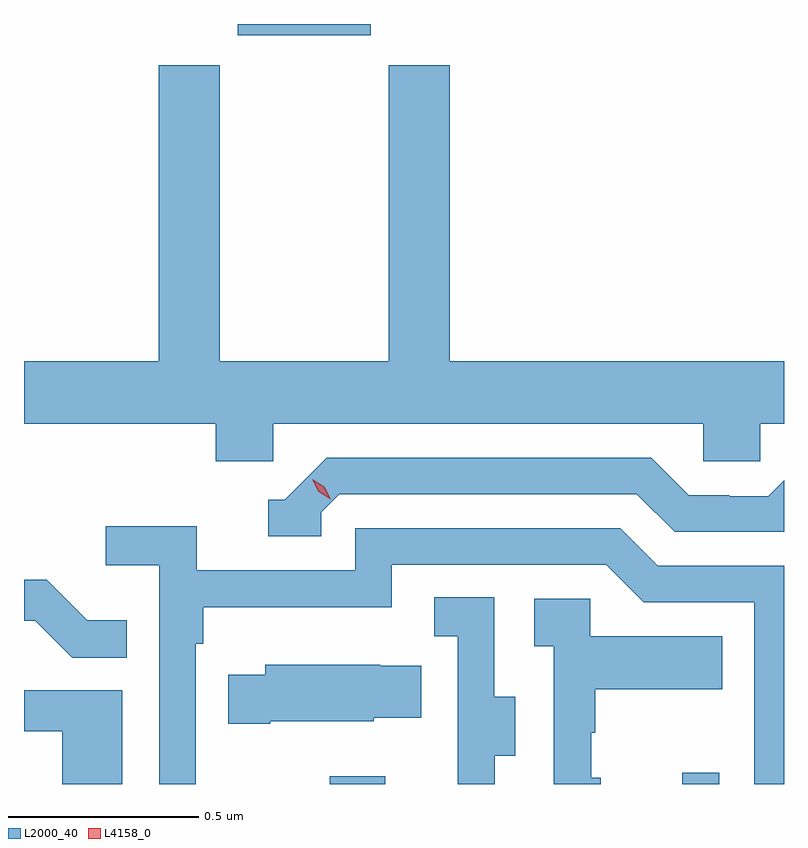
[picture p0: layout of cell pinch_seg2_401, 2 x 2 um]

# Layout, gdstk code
import gdstk
lib = gdstk.Library(unit=1e-6, precision=1e-09)
def R(c, l, rs):  # rectangles x0, y0, x1, y1
    for r in rs: c.add(gdstk.rectangle(r[:2], r[2:], *l))
def P(c, l, *ps):  # polygons
    for p in ps: c.add(gdstk.Polygon(p, *l))
L2000_40 = (2000, 40)
L4158_0 = (4158, 0)

pinch_seg2_401 = lib.new_cell('pinch_seg2_401')
R(pinch_seg2_401, L2000_40, [(954.814,604.064,954.961,604.084), (955.742,604.064,955.839,604.093), (954.572,606.035,954.922,606.064)])
P(pinch_seg2_401, L2000_40, [(954.666,605.012),(955.797,605.012),(955.797,604.914),(955.947,604.914),(955.947,605.012),(956.01,605.012),(956.01,605.176),(955.13,605.176),(955.13,605.956),(954.97,605.956),(954.97,605.176),(954.525,605.176),(954.525,605.956),(954.365,605.956),(954.365,605.176),(954.01,605.176),(954.01,605.012),(954.515,605.012),(954.515,604.914),(954.666,604.914)],
  [(954.792,604.779),(954.84,604.827),(955.623,604.827),(955.722,604.728),(956.01,604.728),(956.01,604.863),(955.969,604.821),(955.866,604.821),(955.866,604.824),(955.759,604.824),(955.66,604.923),(954.807,604.923),(954.696,604.812),(954.653,604.812),(954.653,604.716),(954.792,604.716)],
  [(954.462,604.433),(954.482,604.433),(954.482,604.529),(954.978,604.529),(954.978,604.641),(955.542,604.641),(955.641,604.542),(955.932,604.542),(955.932,604.064),(956.01,604.064),(956.01,604.638),(955.678,604.638),(955.579,604.737),(954.882,604.737),(954.882,604.626),(954.464,604.626),(954.464,604.742),(954.225,604.742),(954.225,604.64),(954.366,604.64),(954.366,604.064),(954.462,604.064)],
  [(954.281,604.495),(954.177,604.495),(954.07,604.602),(954.01,604.602),(954.01,604.494),(954.039,604.494),(954.137,604.396),(954.281,604.396)],
  [(955.249,604.138),(955.303,604.138),(955.303,604.293),(955.248,604.293),(955.248,604.556),(955.089,604.556),(955.089,604.453),(955.152,604.453),(955.152,604.149),(955.151,604.149),(955.151,604.064),(955.249,604.064)],
  [(955.528,604.08),(955.503,604.08),(955.503,604.199),(955.513,604.199),(955.513,604.313),(955.847,604.313),(955.847,604.453),(955.5,604.453),(955.5,604.551),(955.353,604.551),(955.353,604.427),(955.404,604.427),(955.404,604.064),(955.528,604.064)],
  [(954.658,604.229),(954.93,604.229),(954.93,604.238),(955.055,604.238),(955.055,604.375),(954.947,604.375),(954.947,604.378),(954.645,604.378),(954.645,604.351),(954.547,604.351),(954.547,604.222),(954.658,604.222)],
  [(954.268,604.311),(954.01,604.311),(954.01,604.215),(954.011,604.215),(954.011,604.203),(954.11,604.203),(954.11,604.064),(954.268,604.064)])
P(pinch_seg2_401, L4158_0, [(954.817,604.813),(954.786,604.833),(954.769,604.866),(954.769,604.866),(954.769,604.866),(954.8,604.846),(954.817,604.814),(954.817,604.813)])

lib.write_gds('pinch_seg2_401.gds')
